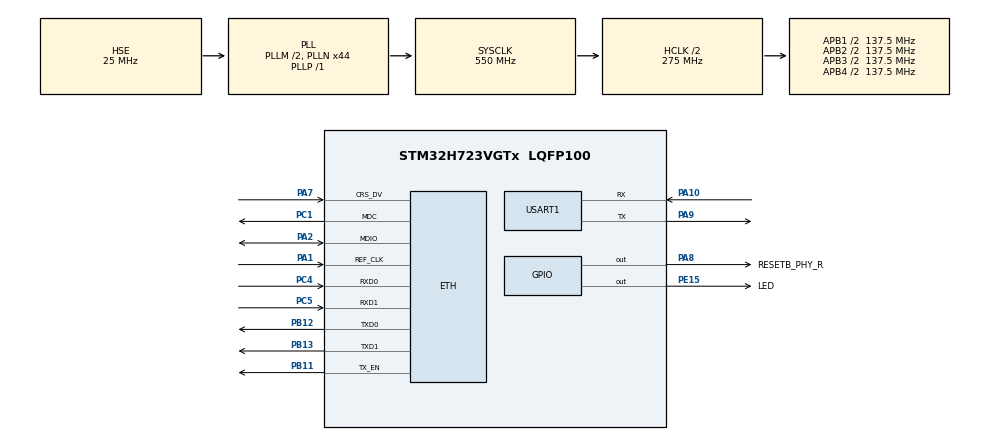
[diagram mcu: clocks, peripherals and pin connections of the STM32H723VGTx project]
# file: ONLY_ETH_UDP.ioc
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CORTEX_M7.AccessPermission_S-Cortex_Memory_Protection_Unit_Region1_Settings_S=MPU_REGION_FULL_ACCESS
CORTEX_M7.AccessPermission_Spec=MPU_REGION_FULL_ACCESS
CORTEX_M7.BaseAddress_S-Cortex_Memory_Protection_Unit_Region1_Settings_S=0x30004000
CORTEX_M7.BaseAddress_Spec=0x30000000
CORTEX_M7.CPU_DCache=Enabled
CORTEX_M7.CPU_ICache=Enabled
CORTEX_M7.DisableExec_S-Cortex_Memory_Protection_Unit_Region1_Settings_S=MPU_INSTRUCTION_ACCESS_ENABLE
CORTEX_M7.DisableExec_Spec=MPU_INSTRUCTION_ACCESS_ENABLE
CORTEX_M7.Enable_S-Cortex_Memory_Protection_Unit_Region1_Settings_S=MPU_REGION_ENABLE
CORTEX_M7.IsBufferable_S-Cortex_Memory_Protection_Unit_Region1_Settings_S=MPU_ACCESS_NOT_BUFFERABLE
CORTEX_M7.IsBufferable_Spec=MPU_ACCESS_BUFFERABLE
CORTEX_M7.IsCacheable_S-Cortex_Memory_Protection_Unit_Region1_Settings_S=MPU_ACCESS_NOT_CACHEABLE
CORTEX_M7.IsCacheable_Spec=MPU_ACCESS_NOT_CACHEABLE
CORTEX_M7.IsShareable_S-Cortex_Memory_Protection_Unit_Region1_Settings_S=MPU_ACCESS_SHAREABLE
CORTEX_M7.IsShareable_Spec=MPU_ACCESS_NOT_SHAREABLE
CORTEX_M7.MPU_Control=MPU_HFNMI_PRIVDEF
CORTEX_M7.Size_S-Cortex_Memory_Protection_Unit_Region1_Settings_S=MPU_REGION_SIZE_16KB
CORTEX_M7.Size_Spec=MPU_REGION_SIZE_256B
CORTEX_M7.SubRegionDisable_Spec=0x00
CORTEX_M7.TypeExtField_S-Cortex_Memory_Protection_Unit_Region1_Settings_S=MPU_TEX_LEVEL1
CORTEX_M7.TypeExtField_Spec=MPU_TEX_LEVEL0
CORTEX_M7.default_mode_Activation=1
ETH.MACAddr=00\:80\:E1\:12\:34\:56
ETH.MediaInterface=HAL_ETH_RMII_MODE
ETH.RxBufferAddress=0x30000200
ETH.RxDescAddress=0x30000000
ETH.TxDescAddress=0x30000060
FREERTOS.HEAP_NUMBER=4
FREERTOS.Tasks01=defaultTask,0,3840,StartDefaultTask,Default,NULL,Dynamic,NULL,NULL;fps_task,-2,128,FPS_Task,Default,NULL,Dynamic,NULL,NULL
FREERTOS.configCHECK_FOR_STACK_OVERFLOW=2
FREERTOS.configTOTAL_HEAP_SIZE=40960
LWIP.BSP.number=1
LWIP.ETH_PAD_SIZE=0
LWIP.ETH_RX_BUFFER_CNT=16
LWIP.GATEWAY_ADDRESS=192.168.000.001
LWIP.IP_ADDRESS=192.168.010.002
LWIP.LWIP_DHCP=0
LWIP.LWIP_SNTP=1
LWIP.MEMP_MEM_MALLOC=0
LWIP.NETMASK_ADDRESS=255.255.255.000
LWIP.PBUF_POOL_BUFSIZE=1536
LWIP.PBUF_POOL_SIZE=16
LWIP.SYS_LIGHTWEIGHT_PROT=0
LWIP.Version=v2.1.2_Cube
LWIP0.BSP.STBoard=false
LWIP0.BSP.api=BSP_COMPONENT_DRIVER
LWIP0.BSP.component=LAN8742
LWIP0.BSP.instance=LAN8742
LWIP0.BSP.name=Driver_PHY
LWIP0.BSP.semaphore=S_LAN8742
LWIP0.BSP.solution=LAN8742
Mcu.Family=STM32H7
Mcu.Name=STM32H723VGTx
Mcu.Package=LQFP100
NVIC.ETH_IRQn=true\:5\:0\:false\:false\:true\:true\:true\:true\:true
NVIC.PriorityGroup=NVIC_PRIORITYGROUP_4
NVIC.TIM6_DAC_IRQn=true\:15\:0\:false\:false\:true\:false\:false\:true\:true
NVIC.TimeBase=TIM6_DAC_IRQn
NVIC.TimeBaseIP=TIM6
PA1.GPIO_Speed_Default_HIGH=GPIO_SPEED_FREQ_VERY_HIGH
PA1.Mode=RMII
PA1.Signal=ETH_REF_CLK
PA10.Mode=Asynchronous
PA10.Signal=USART1_RX
PA13(JTMS/SWDIO).Mode=Serial_Wire
PA13(JTMS/SWDIO).Signal=DEBUG_JTMS-SWDIO
PA14(JTCK/SWCLK).Mode=Serial_Wire
PA14(JTCK/SWCLK).Signal=DEBUG_JTCK-SWCLK
PA2.GPIO_Speed_Default_HIGH=GPIO_SPEED_FREQ_VERY_HIGH
PA2.Mode=RMII
PA2.Signal=ETH_MDIO
PA7.GPIO_Speed_Default_HIGH=GPIO_SPEED_FREQ_VERY_HIGH
PA7.Mode=RMII
PA7.Signal=ETH_CRS_DV
PA8.GPIO_Label=RESETB_PHY_R
PA8.PinState=GPIO_PIN_SET
PA8.Signal=GPIO_Output
PA9.Mode=Asynchronous
PA9.Signal=USART1_TX
PB11.GPIO_Speed_Default_HIGH=GPIO_SPEED_FREQ_VERY_HIGH
PB11.Mode=RMII
PB11.Signal=ETH_TX_EN
PB12.GPIO_Speed_Default_HIGH=GPIO_SPEED_FREQ_VERY_HIGH
PB12.Mode=RMII
PB12.Signal=ETH_TXD0
PB13.GPIO_Speed_Default_HIGH=GPIO_SPEED_FREQ_VERY_HIGH
PB13.Mode=RMII
PB13.Signal=ETH_TXD1
PC1.GPIO_Speed_Default_HIGH=GPIO_SPEED_FREQ_VERY_HIGH
PC1.Mode=RMII
PC1.Signal=ETH_MDC
PC4.GPIO_Speed_Default_HIGH=GPIO_SPEED_FREQ_VERY_HIGH
PC4.Mode=RMII
PC4.Signal=ETH_RXD0
PC5.GPIO_Speed_Default_HIGH=GPIO_SPEED_FREQ_VERY_HIGH
PC5.Mode=RMII
PC5.Signal=ETH_RXD1
PE15.GPIO_Label=LED
PE15.Signal=GPIO_Output
PH0-OSC_IN.Mode=HSE-External-Oscillator
PH0-OSC_IN.Signal=RCC_OSC_IN
PH1-OSC_OUT.Mode=HSE-External-Oscillator
PH1-OSC_OUT.Signal=RCC_OSC_OUT
ProjectManager.HeapSize=0x800
ProjectManager.StackSize=0x800
ProjectManager.TargetToolchain=MDK-ARM V5.32
RCC.ADCFreq_Value=50390625
RCC.APB1Freq_Value=137500000
RCC.APB2Freq_Value=137500000
RCC.APB3Freq_Value=137500000
RCC.APB4Freq_Value=137500000
RCC.CortexFreq_Value=550000000
RCC.D1PPRE=RCC_APB3_DIV2
RCC.D2PPRE1=RCC_APB1_DIV2
RCC.D2PPRE2=RCC_APB2_DIV2
RCC.D3PPRE=RCC_APB4_DIV2
RCC.DIVM1=2
RCC.DIVN1=44
RCC.DIVP1=1
RCC.HCLKFreq_Value=275000000
RCC.HPRE=RCC_HCLK_DIV2
RCC.HSE_Timout=200
RCC.PLL2FRACN=0
RCC.PLL3FRACN=0
RCC.PLLFRACN=0
RCC.PLLSourceVirtual=RCC_PLLSOURCE_HSE
RCC.SYSCLKFreq_VALUE=550000000
RCC.SYSCLKSource=RCC_SYSCLKSOURCE_PLLCLK
RCC.USBFreq_Value=275000000
USART1.VirtualMode-Asynchronous=VM_ASYNC
VP_FREERTOS_VS_CMSIS_V1.Mode=CMSIS_V1
VP_LWIP_VS_Enabled.Mode=Enabled
VP_MEMORYMAP_VS_MEMORYMAP.Mode=CurAppReg
VP_SYS_VS_tim6.Mode=TIM6
board=custom

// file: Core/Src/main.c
/* USER CODE BEGIN Header */
/**
  ******************************************************************************
  * @file           : main.c
  * @brief          : Main program body
  ******************************************************************************
  * @attention
  *
  * Copyright (c) 2026 STMicroelectronics.
  * All rights reserved.
  *
  * This software is licensed under terms that can be found in the LICENSE file
  * in the root directory of this software component.
  * If no LICENSE file comes with this software, it is provided AS-IS.
  *
  ******************************************************************************
  */
/* USER CODE END Header */
#include "main.h"
#include "cmsis_os.h"
#include "lwip.h"
#include "usart.h"
#include "gpio.h"

/* USER CODE BEGIN Includes */
#include "Lwip_UDP.h"
#include "stdio.h"
/* USER CODE END Includes */

/* USER CODE BEGIN PV */
uint16_t lwip_recv_cnt= 0;
uint16_t lwip_recv_fps= 0;
uint16_t lwip_send_cnt= 0;
uint16_t lwip_send_fps= 0;
/* USER CODE END PV */

void SystemClock_Config(void);
static void MPU_Config(void);
void MX_FREERTOS_Init(void);

int main(void)
{

  /* MPU Configuration--------------------------------------------------------*/
  MPU_Config();

  /* Enable the CPU Cache */

  /* Enable I-Cache---------------------------------------------------------*/
  SCB_EnableICache();

  /* Enable D-Cache---------------------------------------------------------*/
  SCB_EnableDCache();

  /* MCU Configuration--------------------------------------------------------*/

  /* Reset of all peripherals, Initializes the Flash interface and the Systick. */
  HAL_Init();

  /* USER CODE BEGIN Init */
	HAL_GPIO_WritePin(RESETB_PHY_R_GPIO_Port, RESETB_PHY_R_Pin, GPIO_PIN_RESET);
	HAL_Delay (100);
	HAL_GPIO_WritePin(RESETB_PHY_R_GPIO_Port, RESETB_PHY_R_Pin, GPIO_PIN_SET);
	HAL_Delay (100);
  /* USER CODE END Init */

  /* Configure the system clock */
  SystemClock_Config();

  /* USER CODE BEGIN SysInit */
  //SCB_DisableDCache();
	__HAL_RCC_D2SRAM1_CLK_ENABLE();
  /* USER CODE END SysInit */

  /* Initialize all configured peripherals */
  MX_GPIO_Init();
  MX_USART1_UART_Init();
  /* USER CODE BEGIN 2 */
	 SCB_DisableDCache();
	HAL_GPIO_WritePin(LED_GPIO_Port,LED_Pin, GPIO_PIN_RESET);
	printf("initialied~successfully");

	//udp_task_run();//
  /* USER CODE END 2 */

  /* Call init function for freertos objects (in cmsis_os2.c) */
  MX_FREERTOS_Init();

  /* Start scheduler */
  osKernelStart();

  /* We should never get here as control is now taken by the scheduler */

  /* Infinite loop */
  while (1)
  {

  }
}

void SystemClock_Config(void)
{
  RCC_OscInitTypeDef RCC_OscInitStruct = {0};
  RCC_ClkInitTypeDef RCC_ClkInitStruct = {0};

  /** Supply configuration update enable
  */
  HAL_PWREx_ConfigSupply(PWR_LDO_SUPPLY);

  /** Configure the main internal regulator output voltage
  */
  __HAL_PWR_VOLTAGESCALING_CONFIG(PWR_REGULATOR_VOLTAGE_SCALE0);

  while(!__HAL_PWR_GET_FLAG(PWR_FLAG_VOSRDY)) {}

  /** Initializes the RCC Oscillators according to the specified parameters
  * in the RCC_OscInitTypeDef structure.
  */
  RCC_OscInitStruct.OscillatorType = RCC_OSCILLATORTYPE_HSE;
  RCC_OscInitStruct.HSEState = RCC_HSE_ON;
  RCC_OscInitStruct.PLL.PLLState = RCC_PLL_ON;
  RCC_OscInitStruct.PLL.PLLSource = RCC_PLLSOURCE_HSE;
  RCC_OscInitStruct.PLL.PLLM = 2;
  RCC_OscInitStruct.PLL.PLLN = 44;
  RCC_OscInitStruct.PLL.PLLP = 1;
  RCC_OscInitStruct.PLL.PLLQ = 2;
  RCC_OscInitStruct.PLL.PLLR = 2;
  RCC_OscInitStruct.PLL.PLLRGE = RCC_PLL1VCIRANGE_3;
  RCC_OscInitStruct.PLL.PLLVCOSEL = RCC_PLL1VCOWIDE;
  RCC_OscInitStruct.PLL.PLLFRACN = 0;
  if (HAL_RCC_OscConfig(&RCC_OscInitStruct) != HAL_OK)
  {
    Error_Handler();
  }

  /** Initializes the CPU, AHB and APB buses clocks
  */
  RCC_ClkInitStruct.ClockType = RCC_CLOCKTYPE_HCLK|RCC_CLOCKTYPE_SYSCLK
                              |RCC_CLOCKTYPE_PCLK1|RCC_CLOCKTYPE_PCLK2
                              |RCC_CLOCKTYPE_D3PCLK1|RCC_CLOCKTYPE_D1PCLK1;
  RCC_ClkInitStruct.SYSCLKSource = RCC_SYSCLKSOURCE_PLLCLK;
  RCC_ClkInitStruct.SYSCLKDivider = RCC_SYSCLK_DIV1;
  RCC_ClkInitStruct.AHBCLKDivider = RCC_HCLK_DIV2;
  RCC_ClkInitStruct.APB3CLKDivider = RCC_APB3_DIV2;
  RCC_ClkInitStruct.APB1CLKDivider = RCC_APB1_DIV2;
  RCC_ClkInitStruct.APB2CLKDivider = RCC_APB2_DIV2;
  RCC_ClkInitStruct.APB4CLKDivider = RCC_APB4_DIV2;

  if (HAL_RCC_ClockConfig(&RCC_ClkInitStruct, FLASH_LATENCY_3) != HAL_OK)
  {
    Error_Handler();
  }
}

 /* MPU Configuration */

void MPU_Config(void)
{
  MPU_Region_InitTypeDef MPU_InitStruct = {0};

  /* Disables the MPU */
  HAL_MPU_Disable();

  /** Initializes and configures the Region and the memory to be protected
  */
  MPU_InitStruct.Enable = MPU_REGION_ENABLE;
  MPU_InitStruct.Number = MPU_REGION_NUMBER0;
  MPU_InitStruct.BaseAddress = 0x30000000;
  MPU_InitStruct.Size = MPU_REGION_SIZE_256B;
  MPU_InitStruct.SubRegionDisable = 0x00;
  MPU_InitStruct.TypeExtField = MPU_TEX_LEVEL0;
  MPU_InitStruct.AccessPermission = MPU_REGION_FULL_ACCESS;
  MPU_InitStruct.DisableExec = MPU_INSTRUCTION_ACCESS_ENABLE;
  MPU_InitStruct.IsShareable = MPU_ACCESS_NOT_SHAREABLE;
  MPU_InitStruct.IsCacheable = MPU_ACCESS_NOT_CACHEABLE;
  MPU_InitStruct.IsBufferable = MPU_ACCESS_BUFFERABLE;

  HAL_MPU_ConfigRegion(&MPU_InitStruct);

  /** Initializes and configures the Region and the memory to be protected
  */
  MPU_InitStruct.Number = MPU_REGION_NUMBER1;
  MPU_InitStruct.BaseAddress = 0x30004000;
  MPU_InitStruct.Size = MPU_REGION_SIZE_16KB;
  MPU_InitStruct.SubRegionDisable = 0x0;
  MPU_InitStruct.TypeExtField = MPU_TEX_LEVEL1;
  MPU_InitStruct.IsShareable = MPU_ACCESS_SHAREABLE;
  MPU_InitStruct.IsBufferable = MPU_ACCESS_NOT_BUFFERABLE;

  HAL_MPU_ConfigRegion(&MPU_InitStruct);
  /* Enables the MPU */
  HAL_MPU_Enable(MPU_HFNMI_PRIVDEF);

}

void HAL_TIM_PeriodElapsedCallback(TIM_HandleTypeDef *htim)
{
  if (htim->Instance == TIM6)
  {
    HAL_IncTick();
  }
}

void Error_Handler(void)
{
  __disable_irq();
  while (1)
  {
  }
}

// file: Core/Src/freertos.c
/* USER CODE BEGIN Header */
/**
  ******************************************************************************
  * File Name          : freertos.c
  * Description        : Code for freertos applications
  ******************************************************************************
  * @attention
  *
  * Copyright (c) 2026 STMicroelectronics.
  * All rights reserved.
  *
  * This software is licensed under terms that can be found in the LICENSE file
  * in the root directory of this software component.
  * If no LICENSE file comes with this software, it is provided AS-IS.
  *
  ******************************************************************************
  */
/* USER CODE END Header */

#include "FreeRTOS.h"
#include "task.h"
#include "main.h"
#include "cmsis_os.h"

/* USER CODE BEGIN Includes */
#include "Lwip_UDP.h"
#include "cmsis_os.h"//
/* USER CODE END Includes */

/* USER CODE BEGIN PD */

extern ETH_HandleTypeDef heth;
//uint32_t dmasr = 0; // ��ȡ DMA ״̬�Ĵ���
//uint32_t dmarpus =0; // ��ȡ DMA ģʽ�Ĵ���

/* USER CODE END PD */

osThreadId defaultTaskHandle;
osThreadId fps_taskHandle;

void StartDefaultTask(void const * argument);
void FPS_Task(void const * argument);

extern void MX_LWIP_Init(void);
void MX_FREERTOS_Init(void); /* (MISRA C 2004 rule 8.1) */

/* GetIdleTaskMemory prototype (linked to static allocation support) */
void vApplicationGetIdleTaskMemory( StaticTask_t **ppxIdleTaskTCBBuffer, StackType_t **ppxIdleTaskStackBuffer, uint32_t *pulIdleTaskStackSize );

/* Hook prototypes */
void vApplicationStackOverflowHook(xTaskHandle xTask, signed char *pcTaskName);

/* USER CODE BEGIN 4 */
__weak void vApplicationStackOverflowHook(xTaskHandle xTask, signed char *pcTaskName)
{
   /* Run time stack overflow checking is performed if
   configCHECK_FOR_STACK_OVERFLOW is defined to 1 or 2. This hook function is
   called if a stack overflow is detected. */
	 /* Run time stack overflow checking is performed if
   configCHECK_FOR_STACK_OVERFLOW is defined to 1 or 2. This hook function is
   called if a stack overflow is detected. */

   /* ?????:???????? */
   __disable_irq();           /* ?????? */

   /* ??????,?? pcTaskName ?? */
   while(1)
   {
       /* ???????LED??,???? */
   }
}
/* USER CODE END 4 */

/* USER CODE BEGIN GET_IDLE_TASK_MEMORY */
static StaticTask_t xIdleTaskTCBBuffer;
static StackType_t xIdleStack[configMINIMAL_STACK_SIZE];

void vApplicationGetIdleTaskMemory( StaticTask_t **ppxIdleTaskTCBBuffer, StackType_t **ppxIdleTaskStackBuffer, uint32_t *pulIdleTaskStackSize )
{
  *ppxIdleTaskTCBBuffer = &xIdleTaskTCBBuffer;
  *ppxIdleTaskStackBuffer = &xIdleStack[0];
  *pulIdleTaskStackSize = configMINIMAL_STACK_SIZE;
  /* place for user code */
}
/* USER CODE END GET_IDLE_TASK_MEMORY */

void MX_FREERTOS_Init(void) {

  /* Create the thread(s) */
  /* definition and creation of defaultTask */
  osThreadDef(defaultTask, StartDefaultTask, osPriorityNormal, 0, 3840);
  defaultTaskHandle = osThreadCreate(osThread(defaultTask), NULL);

  /* definition and creation of fps_task */
  osThreadDef(fps_task, FPS_Task, osPriorityLow, 0, 128);
  fps_taskHandle = osThreadCreate(osThread(fps_task), NULL);

}

void StartDefaultTask(void const * argument)
{
  /* init code for LWIP */
  MX_LWIP_Init();
  /* USER CODE BEGIN StartDefaultTask */
  udp_task_init();
  /* Infinite loop */
  for(;;)
  {
    udp_send_data(UDP_tx_data, UDP_TX_BUFFER_SIZE);

	lwip_send_cnt++;
    osDelay(1);
  }
  /* USER CODE END StartDefaultTask */
}

void FPS_Task(void const * argument)
{
  /* USER CODE BEGIN FPS_Task */
  /* Infinite loop */
  for(;;)
  {
		lwip_recv_fps = lwip_recv_cnt;
		lwip_recv_cnt = 0;
		lwip_send_fps = lwip_send_cnt;
		lwip_send_cnt = 0;

	vTaskDelay(pdMS_TO_TICKS(1000));
    //osDelay(1000);
  }
  /* USER CODE END FPS_Task */
}
